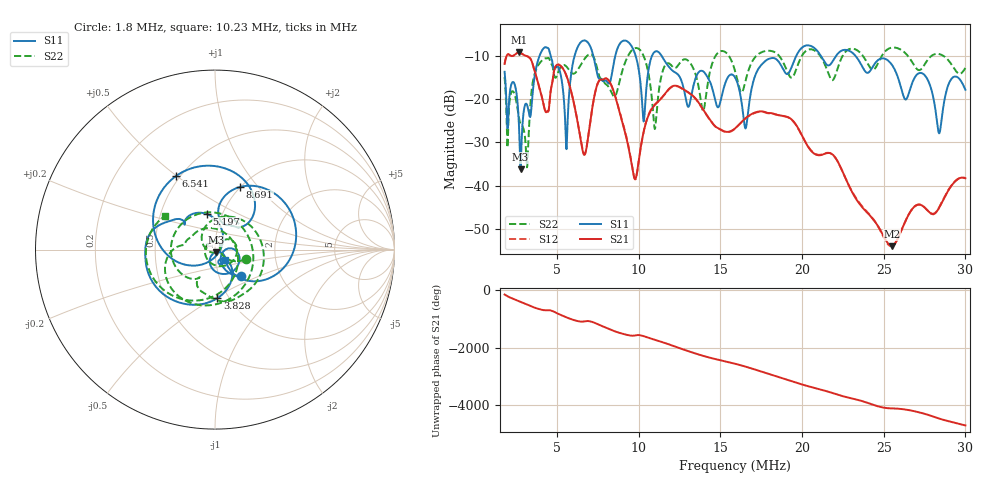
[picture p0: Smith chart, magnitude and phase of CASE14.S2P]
!Agilent Technologies,E5061B,MY49101568,A.02.00
!Date: Wed Mar 01 14:34:47 2023
!Data & Calibration Information:
!Freq	S11:SOLT2(OFF)	S21:SOLT2(OFF)	S12:SOLT2(OFF)	S22:SOLT2(OFF)
# Hz S dB R 50
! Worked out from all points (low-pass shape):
!   1155 points, 1.8 MHz to 30 MHz, reference 50 ohm
!   highest |S21| = -9.28 dB at 2.68 MHz (marker M1); lowest = -53.9 dB at 25.5 MHz (marker M2)
!   |S21| within 3 dB of the highest: start of sweep to 3.542 MHz; 4.953 MHz to 5.181 MHz (227.9 kHz wide, 4.5 % of centre)
!   lowest |S11| = -36.2 dB at 2.777 MHz (marker M3), VSWR 1.03, Z = 50.6 - j1.46 ohm
!   |S11| at or under -10 dB: start of sweep to 3.945 MHz; 11.4 MHz to 19.66 MHz (8.26 MHz wide, 53.2 % of centre); 23.26 MHz to end of sweep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
!   |S22| runs from -35.7 to -8.1 dB; largest |S21 - S12| = 0.0034
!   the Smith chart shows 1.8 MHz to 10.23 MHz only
!   S11 on the Smith chart (normalised r, x): 1.8 MHz: 1.27, -0.39; 3.828 MHz: 0.88, -0.52; 5.197 MHz: 0.85, +0.35; 6.541 MHz: 0.48, +0.50; 8.691 MHz: 0.99, +0.81; 10.23 MHz: 1.11, -0.13
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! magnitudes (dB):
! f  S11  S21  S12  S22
! 1.8 MHz  -13.7  -11.9  -11.9  -14.9
! 2.68 MHz  -26.1  -9.3  -9.3  -24.3
! 2.777 MHz  -36.2  -9.4  -9.4  -25.7
! 3.168 MHz  -21.3  -10.1  -10.1  -35.7
! 3.828 MHz  -11.3  -16.0  -16.1  -12.4
! 5.197 MHz  -13.8  -12.3  -12.2  -12.9
! 5.588 MHz  -31.6  -14.7  -14.7  -12.5
! 6.516 MHz  -6.7  -30.7  -30.4  -11.8
! 6.541 MHz  -6.7  -31.2  -30.9  -11.6
! 7.592 MHz  -15.4  -15.8  -15.7  -14.7
! 8.691 MHz  -8.5  -21.0  -20.9  -18.1
! 9.742 MHz  -9.2  -38.2  -38.2  -8.4
! 10.23 MHz  -21.7  -29.0  -29.0  -9.5
! 11.21 MHz  -9.2  -20.6  -20.5  -19.0
! 13.04 MHz  -21.8  -18.5  -18.5  -11.2
! 15.9 MHz  -15.0  -26.8  -26.8  -13.5
! 16.56 MHz  -26.7  -24.4  -24.4  -15.6
! 20.62 MHz  -7.9  -32.2  -32.1  -8.6
! 25.31 MHz  -11.3  -53.4  -53.6  -8.4
! 25.5 MHz  -12.1  -53.9  -53.8  -8.2
! 28.39 MHz  -27.9  -45.1  -44.9  -9.7
! 30 MHz  -17.9  -38.3  -38.2  -12.9
